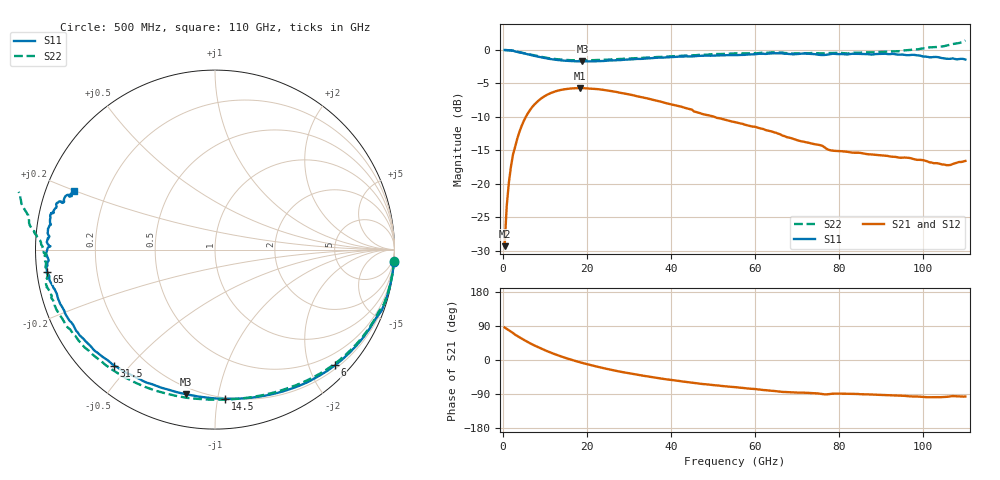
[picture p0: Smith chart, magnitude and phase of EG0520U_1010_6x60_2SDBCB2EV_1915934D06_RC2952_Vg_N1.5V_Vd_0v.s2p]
!File name = EG0520U_1010_6x60_2SDBCB2EV_1915934D06_RC2952_Vg_N1.5V_Vd_0v.s2p
!Base file name = EG0520U_1010_6x60_2SDBCB2EV_1915934D06_RC2952
!Date = 8/23/2019
!Time = 1:12 PM
!Test duration(min) = 0.15
!Test = S-Parameters
!MPTS version = 8.91.5
!State File = C:\Data\PNA\20190821205423\S-Parameters_2019-08-23.sta
!Cal File =
!ComputerName = CMPE-LAB-6
!Comments =
!Attenuation = 0
!Z0 = 50
!Input Power(dBm) = -13.00
!Device ID = EG0520U_1010_6x60_2SDBCB2EV
!Row = 29
!Column = 52
!Technology = QPHT09
!Lot/Wafer = 1915934D06
!Gate Size = 360
!Mask = EG0520
!Cal Standards = GaAs BCB
!Cal Kit = EG2306
!Job Number = 20190821205423
!Device Type = FET
!set_Vg(v) = -1.500
!set_Vd(v) = 0.000
!file_name = EG0520U_1010_6x60_2SDBCB2EV_1915934D06_RC2952_Vg_N1.5V_Vd_0v.s2p
!Vd(V) = 0.000
!Vd(mA) = 0.002
!Vg(V) = -1.500
!Vg(mA) = -0.001
# GHz  S  DB  R  50
!%	Freq(GHz)  s11(dB)  s11(deg)  s21(dB)  s21(deg)  s12(dB)  s12(deg)  s22(dB)  s22(deg)
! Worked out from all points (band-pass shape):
!   220 points, 500 MHz to 110 GHz, reference 50 ohm
!   highest |S21| = -5.70 dB at 18.5 GHz (marker M1); lowest = -29.3 dB at 500 MHz (marker M2)
!   |S21| within 3 dB of the highest: 6.858 GHz to 43.66 GHz (36.81 GHz wide, 146 % of centre)
!   lowest |S11| = -1.7 dB at 19 GHz (marker M3), VSWR 10.22, Z = 8.14 - j40.4 ohm
!   |S11| at or under -10 dB: nowhere
!   |S22| runs from -1.6 to 1.4 dB; largest |S21 - S12| = 0.0029
!   S11 on the Smith chart (normalised r, x): 500 MHz: 0, -28; 6 GHz: 0.26, -2.45; 14.5 GHz: 0.19, -1.05; 31.5 GHz: 0.09, -0.45; 65 GHz: 0.03, -0.06; 110 GHz: 0.09, +0.20
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0.5  -0.00 -4.1  -29.34 85.9  -29.34 85.9  -0.01 -3.6
1  -0.02 -8.1  -23.36 82.2  -23.36 82.2  -0.02 -7.2
1.5  -0.04 -12.2  -19.89 78.6  -19.90 78.5  -0.04 -10.8
2.5  -0.10 -20.1  -15.62 71.2  -15.63 71.2  -0.10 -17.9
4  -0.35 -30.5  -12.28 60.1  -12.29 60.1  -0.33 -27.1
6  -0.64 -44.0  -9.49 47.4  -9.51 47.4  -0.60 -39.2
9.5  -1.14 -63.8  -7.11 28.6  -7.12 28.5  -1.06 -57.1
14.5  -1.58 -86.0  -5.89 7.2  -5.91 7.2  -1.46 -77.7
18.5  -1.70 -99.7  -5.70 -6.2  -5.72 -6.3  -1.55 -91.0
19  -1.71 -101.3  -5.71 -7.8  -5.72 -7.9  -1.55 -92.5
25  -1.58 -117.3  -6.06 -24.0  -6.08 -24.0  -1.44 -108.8
31.5  -1.35 -131.0  -6.84 -38.0  -6.86 -38.1  -1.24 -123.4
37  -1.14 -140.5  -7.63 -47.7  -7.64 -47.9  -1.05 -133.7
45.5  -0.94 -153.2  -9.19 -60.7  -9.20 -60.9  -0.78 -147.6
55.5  -0.77 -164.5  -10.82 -71.8  -10.86 -72.1  -0.49 -159.3
65  -0.49 -172.6  -12.38 -82.4  -12.41 -82.7  -0.34 -168.2
73.5  -0.59 179.9  -14.00 -87.5  -14.02 -87.7  -0.45 -174.0
78  -0.59 177.9  -15.01 -89.2  -15.03 -89.2  -0.46 -176.3
92  -0.62 167.4  -15.90 -93.0  -15.92 -93.1  -0.23 177.3
100.5  -0.98 163.0  -16.57 -98.0  -16.62 -98.2  0.28 173.1
106.5  -1.32 159.8  -17.19 -95.9  -17.19 -96.1  0.80 167.4
110  -1.43 157.5  -16.59 -96.4  -16.56 -96.8  1.43 161.7
